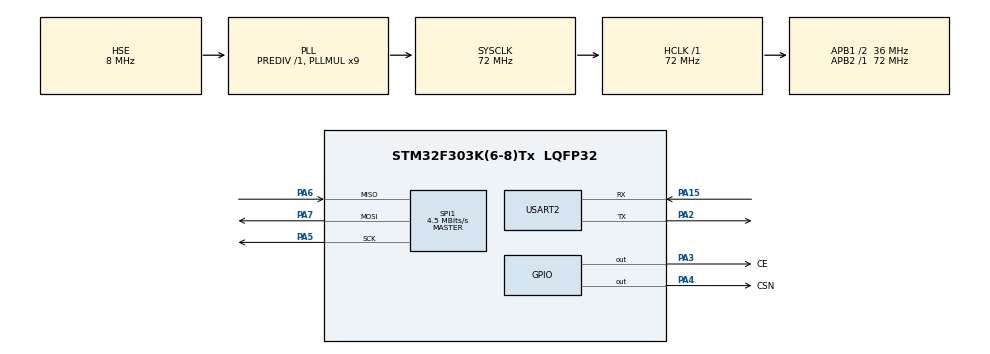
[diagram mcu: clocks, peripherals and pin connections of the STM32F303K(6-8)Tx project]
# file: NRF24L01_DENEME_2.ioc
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Mcu.Family=STM32F3
Mcu.Name=STM32F303K(6-8)Tx
Mcu.Package=LQFP32
NVIC.PriorityGroup=NVIC_PRIORITYGROUP_4
NVIC.SPI1_IRQn=true\:0\:0\:false\:false\:true\:true\:true\:true
PA15.Mode=Asynchronous
PA15.Signal=USART2_RX
PA2.Mode=Asynchronous
PA2.Signal=USART2_TX
PA3.GPIO_Label=CE
PA3.GPIO_Speed=GPIO_SPEED_FREQ_HIGH
PA3.Signal=GPIO_Output
PA4.GPIO_Label=CSN
PA4.GPIO_Speed=GPIO_SPEED_FREQ_HIGH
PA4.Signal=GPIO_Output
PA5.Mode=Full_Duplex_Master
PA5.Signal=SPI1_SCK
PA6.Mode=Full_Duplex_Master
PA6.Signal=SPI1_MISO
PA7.Mode=Full_Duplex_Master
PA7.Signal=SPI1_MOSI
PF0\ /\ OSC_IN.Mode=HSE-External-Oscillator
PF0\ /\ OSC_IN.Signal=RCC_OSC_IN
PF1\ /\ OSC_OUT.Mode=HSE-External-Oscillator
PF1\ /\ OSC_OUT.Signal=RCC_OSC_OUT
ProjectManager.HeapSize=0x200
ProjectManager.StackSize=0x400
ProjectManager.TargetToolchain=STM32CubeIDE
RCC.AHBFreq_Value=72000000
RCC.APB1CLKDivider=RCC_HCLK_DIV2
RCC.APB1Freq_Value=36000000
RCC.APB1TimFreq_Value=72000000
RCC.APB2Freq_Value=72000000
RCC.APB2TimFreq_Value=72000000
RCC.CortexFreq_Value=72000000
RCC.HCLKFreq_Value=72000000
RCC.HSE_VALUE=8000000
RCC.HSI_VALUE=8000000
RCC.PLLMUL=RCC_PLL_MUL9
RCC.PLLSourceVirtual=RCC_PLLSOURCE_HSE
RCC.SYSCLKFreq_VALUE=72000000
RCC.SYSCLKSourceVirtual=RCC_SYSCLKSOURCE_PLLCLK
SPI1.BaudRatePrescaler=SPI_BAUDRATEPRESCALER_16
SPI1.CalculateBaudRate=4.5 MBits/s
SPI1.Direction=SPI_DIRECTION_2LINES
SPI1.Mode=SPI_MODE_MASTER
SPI1.VirtualType=VM_MASTER
USART2.VirtualMode-Asynchronous=VM_ASYNC
board=custom

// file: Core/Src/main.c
/* USER CODE BEGIN Header */
/**
  ******************************************************************************
  * @file           : main.c
  * @brief          : Main program body
  ******************************************************************************
  * @attention
  *
  * Copyright (c) 2025 STMicroelectronics.
  * All rights reserved.
  *
  * This software is licensed under terms that can be found in the LICENSE file
  * in the root directory of this software component.
  * If no LICENSE file comes with this software, it is provided AS-IS.
  *
  ******************************************************************************
  */
/* USER CODE END Header */
#include "main.h"

/* USER CODE BEGIN Includes */
#include "stm32f3xx_hal.h"
#include "MY_NRF24.h"

/* USER CODE END Includes */

SPI_HandleTypeDef hspi1;

UART_HandleTypeDef huart2;

void SystemClock_Config(void);
static void MX_GPIO_Init(void);
static void MX_SPI1_Init(void);
static void MX_USART2_UART_Init(void);

/* USER CODE BEGIN 0 */
uint64_t TxpipeAddres = 0x68;

 char myTxData[60] = "Hallo World";
/* USER CODE END 0 */

int main(void)
{

  /* MCU Configuration--------------------------------------------------------*/

  /* Reset of all peripherals, Initializes the Flash interface and the Systick. */
  HAL_Init();

  /* Configure the system clock */
  SystemClock_Config();

  /* Initialize all configured peripherals */
  MX_GPIO_Init();
  MX_SPI1_Init();
  MX_USART2_UART_Init();
  /* USER CODE BEGIN 2 */
  NRF24_begin(GPIOA,GPIO_PIN_3,GPIO_PIN_4,hspi1);
    // Set UART
    nrf24_DebugUART_Init(huart2);
    // Set the Print Radio Settings
    printRadioSettings();
    //Transmit - NO Acknowledgment //
    NRF24_setPALevel(RF_PWR_HIGH);
    NRF24_setAutoAck(false);
    NRF24_setChannel(52);
    NRF24_setPayloadSize(32);
    NRF24_setDataRate(RF24_2MBPS);
    NRF24_openWritingPipe(TxpipeAddres);
    NRF24_stopListening();
  /* USER CODE END 2 */

  /* Infinite loop */
  while (1)
  {

    /* USER CODE BEGIN 3 */
	  if(NRF24_write(myTxData,32))
	  {
	  HAL_UART_Transmit(&huart2, (uint8_t*)"Transmitted successfully\r\n", strlen("Transmitted successfully\r\n"), 10);
	  }

	  HAL_Delay(1000);

  }
  /* USER CODE END 3 */
}

void SystemClock_Config(void)
{
  RCC_OscInitTypeDef RCC_OscInitStruct = {0};
  RCC_ClkInitTypeDef RCC_ClkInitStruct = {0};

  /** Initializes the RCC Oscillators according to the specified parameters
  * in the RCC_OscInitTypeDef structure.
  */
  RCC_OscInitStruct.OscillatorType = RCC_OSCILLATORTYPE_HSE;
  RCC_OscInitStruct.HSEState = RCC_HSE_ON;
  RCC_OscInitStruct.HSEPredivValue = RCC_HSE_PREDIV_DIV1;
  RCC_OscInitStruct.HSIState = RCC_HSI_ON;
  RCC_OscInitStruct.PLL.PLLState = RCC_PLL_ON;
  RCC_OscInitStruct.PLL.PLLSource = RCC_PLLSOURCE_HSE;
  RCC_OscInitStruct.PLL.PLLMUL = RCC_PLL_MUL9;
  if (HAL_RCC_OscConfig(&RCC_OscInitStruct) != HAL_OK)
  {
    Error_Handler();
  }

  /** Initializes the CPU, AHB and APB buses clocks
  */
  RCC_ClkInitStruct.ClockType = RCC_CLOCKTYPE_HCLK|RCC_CLOCKTYPE_SYSCLK
                              |RCC_CLOCKTYPE_PCLK1|RCC_CLOCKTYPE_PCLK2;
  RCC_ClkInitStruct.SYSCLKSource = RCC_SYSCLKSOURCE_PLLCLK;
  RCC_ClkInitStruct.AHBCLKDivider = RCC_SYSCLK_DIV1;
  RCC_ClkInitStruct.APB1CLKDivider = RCC_HCLK_DIV2;
  RCC_ClkInitStruct.APB2CLKDivider = RCC_HCLK_DIV1;

  if (HAL_RCC_ClockConfig(&RCC_ClkInitStruct, FLASH_LATENCY_2) != HAL_OK)
  {
    Error_Handler();
  }
}

static void MX_SPI1_Init(void)
{

  /* SPI1 parameter configuration*/
  hspi1.Instance = SPI1;
  hspi1.Init.Mode = SPI_MODE_MASTER;
  hspi1.Init.Direction = SPI_DIRECTION_2LINES;
  hspi1.Init.DataSize = SPI_DATASIZE_4BIT;
  hspi1.Init.CLKPolarity = SPI_POLARITY_LOW;
  hspi1.Init.CLKPhase = SPI_PHASE_1EDGE;
  hspi1.Init.NSS = SPI_NSS_SOFT;
  hspi1.Init.BaudRatePrescaler = SPI_BAUDRATEPRESCALER_16;
  hspi1.Init.FirstBit = SPI_FIRSTBIT_MSB;
  hspi1.Init.TIMode = SPI_TIMODE_DISABLE;
  hspi1.Init.CRCCalculation = SPI_CRCCALCULATION_DISABLE;
  hspi1.Init.CRCPolynomial = 7;
  hspi1.Init.CRCLength = SPI_CRC_LENGTH_DATASIZE;
  hspi1.Init.NSSPMode = SPI_NSS_PULSE_ENABLE;
  if (HAL_SPI_Init(&hspi1) != HAL_OK)
  {
    Error_Handler();
  }

}

static void MX_USART2_UART_Init(void)
{

  huart2.Instance = USART2;
  huart2.Init.BaudRate = 38400;
  huart2.Init.WordLength = UART_WORDLENGTH_8B;
  huart2.Init.StopBits = UART_STOPBITS_1;
  huart2.Init.Parity = UART_PARITY_NONE;
  huart2.Init.Mode = UART_MODE_TX_RX;
  huart2.Init.HwFlowCtl = UART_HWCONTROL_NONE;
  huart2.Init.OverSampling = UART_OVERSAMPLING_16;
  huart2.Init.OneBitSampling = UART_ONE_BIT_SAMPLE_DISABLE;
  huart2.AdvancedInit.AdvFeatureInit = UART_ADVFEATURE_NO_INIT;
  if (HAL_UART_Init(&huart2) != HAL_OK)
  {
    Error_Handler();
  }

}

static void MX_GPIO_Init(void)
{
  GPIO_InitTypeDef GPIO_InitStruct = {0};

  /* GPIO Ports Clock Enable */
  __HAL_RCC_GPIOF_CLK_ENABLE();
  __HAL_RCC_GPIOA_CLK_ENABLE();

  /*Configure GPIO pin Output Level */
  HAL_GPIO_WritePin(GPIOA, CE_Pin|CSN_Pin, GPIO_PIN_RESET);

  /*Configure GPIO pins : CE_Pin CSN_Pin */
  GPIO_InitStruct.Pin = CE_Pin|CSN_Pin;
  GPIO_InitStruct.Mode = GPIO_MODE_OUTPUT_PP;
  GPIO_InitStruct.Pull = GPIO_NOPULL;
  GPIO_InitStruct.Speed = GPIO_SPEED_FREQ_HIGH;
  HAL_GPIO_Init(GPIOA, &GPIO_InitStruct);

}

void Error_Handler(void)
{
  __disable_irq();
  while (1)
  {
  }
}
